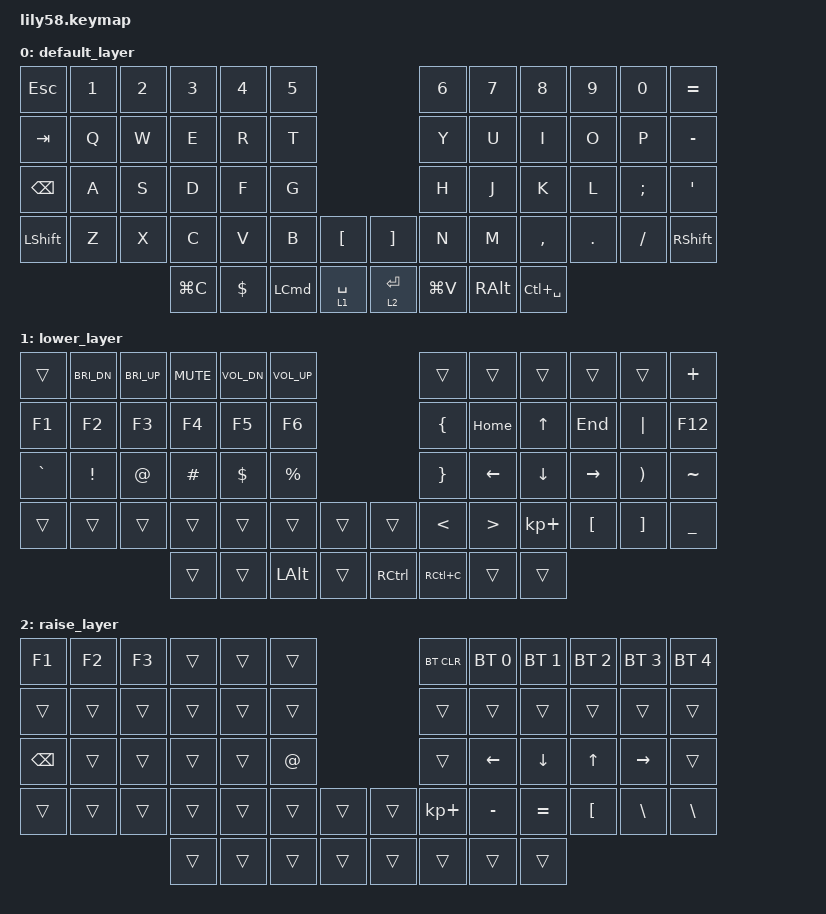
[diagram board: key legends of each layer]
/*
 * Copyright (c) 2020 The ZMK Contributors
 *
 * SPDX-License-Identifier: MIT
 */

#include <behaviors.dtsi>
#include <dt-bindings/zmk/bt.h>
#include <dt-bindings/zmk/keys.h>

/ {
    keymap {
        compatible = "zmk,keymap";

        default_layer {
            // ------------------------------------------------------------------------------------------------------------
            // |  ESC  |  1  |  2  |  3   |  4   |  5   |                   |  6   |  7    |  8    |  9   |   0   |   `   |
            // |  TAB  |  Q  |  W  |  E   |  R   |  T   |                   |  Y   |  U    |  I    |  O   |   P   |   -   |
            // |  CTRL |  A  |  S  |  D   |  F   |  G   |                   |  H   |  J    |  K    |  L   |   ;   |   '   |
            // | SHIFT |  Z  |  X  |  C   |  V   |  B   |   "["  |  |  "]"  |  N   |  M    |  ,    |  .   |   /   | SHIFT |
            //                     | ALT  | GUI  | LOWER|  SPACE |  | ENTER | RAISE| BSPC  | GUI   |

            bindings = <
&kp ESC        &kp N1  &kp N2  &kp N3     &kp N4      &kp N5                                         &kp N6     &kp N7         &kp N8         &kp N9   &kp N0    &kp EQUAL
&kp TAB        &kp Q   &kp W   &kp E      &kp R       &kp T                                          &kp Y      &kp U          &kp I          &kp O    &kp P     &kp MINUS
&kp BACKSPACE  &kp A   &kp S   &kp D      &kp F       &kp G                                          &kp H      &kp J          &kp K          &kp L    &kp SEMI  &kp SQT
&kp LSHFT      &kp Z   &kp X   &kp C      &kp V       &kp B             &kp LBKT       &kp RBKT      &kp N      &kp M          &kp COMMA      &kp DOT  &kp FSLH  &kp RSHFT
                               &kp LG(C)  &kp DOLLAR  &kp LEFT_COMMAND  &lt 1 SPACE    &lt 2 RETURN  &kp LG(V)  &kp RIGHT_ALT  &kp LC(SPACE)
            >;
        };

        lower_layer {
            // ------------------------------------------------------------------------------------------------------------
            // |       | BRDn | BRUp |  MUT |  Vo- |  Vo+ |                   |      |       |       |      |       |       |
            // |  F1   |  F2  |  F3  |  F4  |  F5  |  F6  |                   |  F7  |  F8   |  F9   |  F10 |  F11  |  F12  |
            // |   `   |  !   |  @   |  #   |  $   |  %   |                   |  ^   |  &    |  *    |  (   |   )   |   ~   |
            // |       |      |      |      |      |      |        |  |       |      |  _    |  +    |  {   |   }   |  "|"  |
            //                       |      |      |      |        |  |       |      |       |       |

            bindings = <
&trans     &kp C_BRI_DN  &kp C_BRI_UP  &kp C_MUTE  &kp C_VOL_DN  &kp C_VOL_UP                       &trans           &trans            &trans          &trans            &trans             &kp PLUS
&kp F1     &kp F2        &kp F3        &kp F4      &kp F5        &kp F6                             &kp LEFT_BRACE   &kp HOME          &kp UP_ARROW    &kp END           &kp PIPE           &kp F12
&kp GRAVE  &kp EXCL      &kp AT        &kp HASH    &kp DOLLAR    &kp PRCNT                          &kp RIGHT_BRACE  &kp LEFT_ARROW    &kp DOWN_ARROW  &kp RIGHT_ARROW   &kp RPAR           &kp TILDE
&trans     &trans        &trans        &trans      &trans        &trans        &trans    &trans     &kp LESS_THAN    &kp GREATER_THAN  &kp KP_PLUS     &kp LEFT_BRACKET  &kp RIGHT_BRACKET  &kp UNDERSCORE
                                       &trans      &trans        &kp LEFT_ALT  &trans    &kp RCTRL  &kp RC(C)        &trans            &trans
            >;
        };

        raise_layer {
            // ------------------------------------------------------------------------------------------------------------
            // |       |     |     |      |      |      |                   | Bt clear | Bt 0 | Bt 1 | Bt 2 | Bt 3 | Bt 4 |
            // |   `   |  1  |  2  |  3   |  4   |  5   |                   |          |      |      |      |      |      |
            // |   F1  |  F2 |  F3 |  F4  |  F5  |  F6  |                   |          |  <-  |  v   |  ^   |  ->  |      |
            // |   F7  |  F8 |  F9 |  F10 |  F11 |  F12 |        |  |       |    +     |  -   |  =   |  [   |  ]   |  \   |
            //                     |      |      |      |        |  |       |          |      |      |

            bindings = <
&kp F1         &kp F2  &kp F3  &trans  &trans  &trans                         &bt BT_CLR   &bt BT_SEL 0  &bt BT_SEL 1  &bt BT_SEL 2  &bt BT_SEL 3  &bt BT_SEL 4
&trans         &trans  &trans  &trans  &trans  &trans                         &trans       &trans        &trans        &trans        &trans        &trans
&kp BACKSPACE  &trans  &trans  &trans  &trans  &kp AT_SIGN                    &trans       &kp LEFT      &kp DOWN      &kp UP        &kp RIGHT     &trans
&trans         &trans  &trans  &trans  &trans  &trans       &trans    &trans  &kp KP_PLUS  &kp MINUS     &kp EQUAL     &kp LBKT      &kp BSLH      &kp BSLH
                               &trans  &trans  &trans       &trans    &trans  &trans       &trans        &trans
            >;
        };
    };
};
